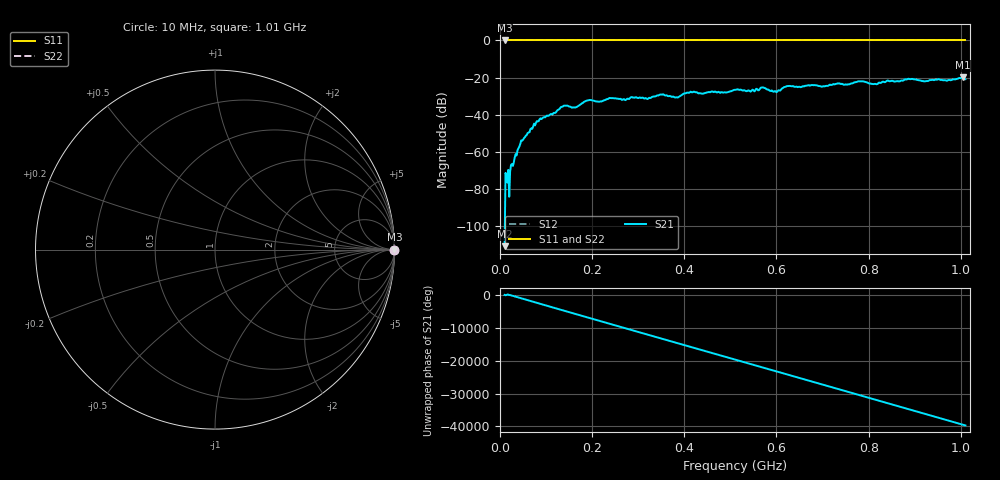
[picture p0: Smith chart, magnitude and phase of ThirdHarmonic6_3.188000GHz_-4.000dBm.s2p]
! 8/17/2025 9:38:41 AM
! C:\ANRITSUVNA\TEMP\TEMP.S2P
! CHANNEL.1
! TR.MEASUREMENT
! RAW.DATA
! RF.CORRECTION.OFF
! AVERAGING.OFF
! IF.BANDWIDTH: 5KHZ
! SWEEPTYPE:  FREQ.SWEEP(Linear)
! Reference Plane Port Info
! PORT:  PORT1  PORT2
! DISTANCE:  0  m  0  m
! TIME:  0  s  0  s
! PHASE.OFFSET:  0  deg.  0  deg.
! LOSS:  0  dB  0  dB
! REF.LOSS:  0  dB  0  dB
! REF.FREQ:  0  Hz  0  Hz
! Power Info
! POWER:  -20  dBm  -20  dBm
! EFF.POWER:  -20  dBm  -20  dBm
! SOURCE.ATTEN:  0  dB  0  dB
! TEST.ATTEN:  0  dB  0  dB
# GHZ S RI R 50.0
! FREQ.GHZ  S11RE  S11IM  S21RE  S21IM  S12RE  S12IM  S22RE  S22IM
!; PortSelection: Port_12
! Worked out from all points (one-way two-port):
!   501 points, 10 MHz to 1.01 GHz, reference 50 ohm
!   highest |S21| = -19.89 dB at 1.004 GHz (marker M1); lowest = -110.9 dB at 10 MHz (marker M2)
!   lowest |S11| = 0.0 dB at 10 MHz (marker M3)
!   |S11| at or under -10 dB: nowhere
!   |S22| runs from 0.0 to 0.0 dB; largest |S21 - S12| = 1.1
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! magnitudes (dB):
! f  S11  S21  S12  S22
! 10 MHz  0.0  -110.9  0.0  0.0
! 24 MHz  0.0  -67.1  0.0  0.0
! 28 MHz  0.0  -67.6  0.0  0.0
! 44 MHz  0.0  -55.8  0.0  0.0
! 78 MHz  0.0  -44.4  0.0  0.0
! 136 MHz  0.0  -35.7  0.0  0.0
! 162 MHz  0.0  -36.1  0.0  0.0
! 178 MHz  0.0  -33.9  0.0  0.0
! 194 MHz  0.0  -32.1  0.0  0.0
! 318 MHz  0.0  -31.3  0.0  0.0
! 344 MHz  0.0  -29.7  0.0  0.0
! 384 MHz  0.0  -30.6  0.0  0.0
! 416 MHz  0.0  -27.9  0.0  0.0
! 510 MHz  0.0  -26.6  0.0  0.0
! 570 MHz  0.0  -25.3  0.0  0.0
! 598 MHz  0.0  -27.4  0.0  0.0
! 624 MHz  0.0  -24.6  0.0  0.0
! 678 MHz  0.0  -24.0  0.0  0.0
! 814 MHz  0.0  -23.4  0.0  0.0
! 844 MHz  0.0  -21.9  0.0  0.0
! 1.004 GHz  0.0  -19.9  0.0  0.0
! 1.01 GHz  0.0  -20.9  0.0  0.0
